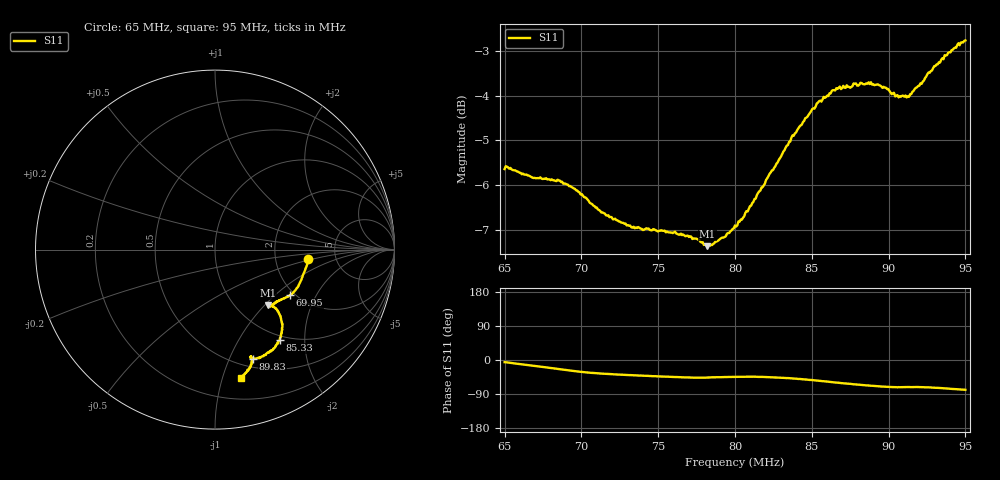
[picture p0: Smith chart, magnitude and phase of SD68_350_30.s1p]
! NanoVNA-App
! Date: 2025-08-09 12:58:55
! Start: 65MHz Stop: 95MHz Points: 401
! S-Parameter data: F S11
# Hz S RI R 50
!  Frequency  S11_Real  S11_Imag
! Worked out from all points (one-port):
!   401 points, 65 MHz to 95 MHz, reference 50 ohm
!   lowest |S11| = -7.4 dB at 78.2 MHz (marker M1), VSWR 2.50, Z = 69 - j52.3 ohm
!   |S11| at or under -10 dB: nowhere
!   S11 on the Smith chart (normalised r, x): 65 MHz: 3.11, -0.45; 69.95 MHz: 1.89, -1.26; 85.33 MHz: 0.93, -1.52; 89.83 MHz: 0.59, -1.22; 95 MHz: 0.38, -1.15
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6.5e7  0.5196 -0.0521
6.5225e7  0.5208 -0.0613
6.755e7  0.4821 -0.1642
6.875e7  0.4582 -0.2132
6.995e7  0.4188 -0.2526
7.1225e7  0.3814 -0.2724
7.25e7  0.3556 -0.2854
7.625e7  0.3116 -0.3131
7.745e7  0.2993 -0.3177
7.82e7  0.2955 -0.3096
7.85e7  0.3007 -0.3062
8e7  0.3219 -0.3167
8.0975e7  0.34 -0.3311
8.18e7  0.3548 -0.35
8.2625e7  0.3661 -0.3777
8.375e7  0.3756 -0.4284
8.5325e7  0.3603 -0.5027
8.645e7  0.3307 -0.5481
8.75e7  0.2939 -0.5732
8.87e7  0.2512 -0.603
8.9825e7  0.2099 -0.6091
9.0575e7  0.1955 -0.6011
9.125e7  0.2013 -0.5972
9.1925e7  0.207 -0.613
9.2675e7  0.2049 -0.6376
9.335e7  0.1903 -0.6607
9.44e7  0.1614 -0.6959
9.5e7  0.1424 -0.7137
